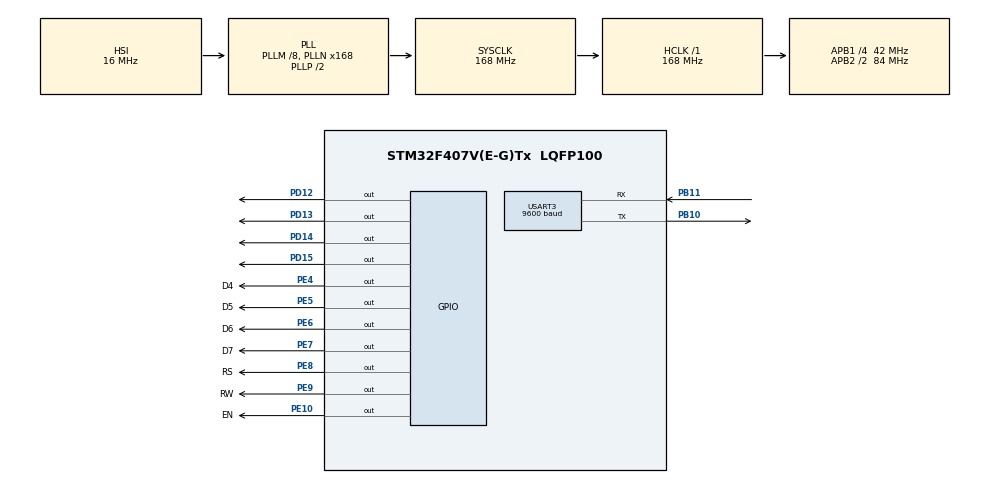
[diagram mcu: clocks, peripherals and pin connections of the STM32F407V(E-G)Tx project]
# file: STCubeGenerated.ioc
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Mcu.Family=STM32F4
Mcu.Name=STM32F407V(E-G)Tx
Mcu.Package=LQFP100
NVIC.PriorityGroup=NVIC_PRIORITYGROUP_4
NVIC.USART3_IRQn=true\:0\:0\:true\:false\:true\:true\:true\:true
PB10.Mode=Asynchronous
PB10.Signal=USART3_TX
PB11.Mode=Asynchronous
PB11.Signal=USART3_RX
PD12.Signal=GPIO_Output
PD13.Signal=GPIO_Output
PD14.Signal=GPIO_Output
PD15.Signal=GPIO_Output
PE10.GPIO_Label=EN
PE10.GPIO_ModeDefaultOutputPP=GPIO_MODE_OUTPUT_PP
PE10.GPIO_PuPd=GPIO_NOPULL
PE10.Signal=GPIO_Output
PE4.GPIO_Label=D4
PE4.GPIO_ModeDefaultOutputPP=GPIO_MODE_OUTPUT_PP
PE4.GPIO_PuPd=GPIO_NOPULL
PE4.Signal=GPIO_Output
PE5.GPIO_Label=D5
PE5.GPIO_ModeDefaultOutputPP=GPIO_MODE_OUTPUT_PP
PE5.GPIO_PuPd=GPIO_NOPULL
PE5.Signal=GPIO_Output
PE6.GPIO_Label=D6
PE6.GPIO_ModeDefaultOutputPP=GPIO_MODE_OUTPUT_PP
PE6.GPIO_PuPd=GPIO_NOPULL
PE6.Signal=GPIO_Output
PE7.GPIO_Label=D7
PE7.GPIO_ModeDefaultOutputPP=GPIO_MODE_OUTPUT_PP
PE7.GPIO_PuPd=GPIO_NOPULL
PE7.Signal=GPIO_Output
PE8.GPIO_Label=RS
PE8.GPIO_ModeDefaultOutputPP=GPIO_MODE_OUTPUT_PP
PE8.GPIO_PuPd=GPIO_NOPULL
PE8.Signal=GPIO_Output
PE9.GPIO_Label=RW
PE9.GPIO_ModeDefaultOutputPP=GPIO_MODE_OUTPUT_PP
PE9.GPIO_PuPd=GPIO_NOPULL
PE9.Signal=GPIO_Output
PH0-OSC_IN.Mode=HSE-External-Oscillator
PH0-OSC_IN.Signal=RCC_OSC_IN
PH1-OSC_OUT.Mode=HSE-External-Oscillator
PH1-OSC_OUT.Signal=RCC_OSC_OUT
ProjectManager.HeapSize=0x200
ProjectManager.StackSize=0x400
ProjectManager.TargetToolchain=MDK-ARM V5
RCC.48MHZClocksFreq_Value=84000000
RCC.AHBFreq_Value=168000000
RCC.APB1CLKDivider=RCC_HCLK_DIV4
RCC.APB1Freq_Value=42000000
RCC.APB1TimFreq_Value=84000000
RCC.APB2CLKDivider=RCC_HCLK_DIV2
RCC.APB2Freq_Value=84000000
RCC.APB2TimFreq_Value=168000000
RCC.CortexFreq_Value=168000000
RCC.HCLKFreq_Value=168000000
RCC.HSE_VALUE=8000000
RCC.HSI_VALUE=16000000
RCC.LSE_VALUE=32768
RCC.PLLM=8
RCC.PLLN=168
RCC.SYSCLKFreq_VALUE=168000000
RCC.SYSCLKSource=RCC_SYSCLKSOURCE_PLLCLK
RCC.VCOOutputFreq_Value=336000000
USART3.BaudRate=9600
USART3.VirtualMode=VM_ASYNC
board=custom

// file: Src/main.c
/* USER CODE BEGIN Header */
/**
  ******************************************************************************
  * @file           : main.c
  * @brief          : Main program body
  ******************************************************************************
  * @attention
  *
  * Copyright (c) 2023 STMicroelectronics.
  * All rights reserved.
  *
  * This software is licensed under terms that can be found in the LICENSE file
  * in the root directory of this software component.
  * If no LICENSE file comes with this software, it is provided AS-IS.
  *
  ******************************************************************************
  */
/* USER CODE END Header */
#include "main.h"

/* USER CODE BEGIN Includes */
#include "lcd.h"
#include "stdio.h"

/* USER CODE END Includes */

UART_HandleTypeDef huart3;

/* USER CODE BEGIN PV */

Lcd_HandleTypeDef lcd;

/* USER CODE END PV */

void SystemClock_Config(void);
static void MX_GPIO_Init(void);
static void MX_USART3_UART_Init(void);

/* USER CODE BEGIN 0 */

	uint8_t send[]="data !";

	uint8_t receive[6];
	uint8_t bufferSize=6;

	void HAL_UART_RxCpltCallback(UART_HandleTypeDef *huart)
	{

		HAL_UART_Receive_IT(&huart3, receive, bufferSize); // thic line must be put after receinving each data
		HAL_GPIO_TogglePin(GPIOD, GPIO_PIN_13);
	}

	void HAL_UART_TxCpltCallback(UART_HandleTypeDef *huart)
	{
		__NOP();
	}
/* USER CODE END 0 */

int main(void)
{

  /* MCU Configuration--------------------------------------------------------*/

  /* Reset of all peripherals, Initializes the Flash interface and the Systick. */
  HAL_Init();

  /* Configure the system clock */
  SystemClock_Config();

  /* Initialize all configured peripherals */
  MX_GPIO_Init();
  MX_USART3_UART_Init();
  /* USER CODE BEGIN 2 */

	// lcd_init
	HAL_GPIO_WritePin(RW_GPIO_Port, RW_Pin, 0);
	Lcd_PortType ports[] = { D4_GPIO_Port, D5_GPIO_Port, D6_GPIO_Port, D7_GPIO_Port };
	Lcd_PinType pins[] = {D4_Pin, D5_Pin, D6_Pin, D7_Pin};
	// declared as global
	// Lcd_HandleTypeDef lcd;
	lcd = Lcd_create(ports, pins, RS_GPIO_Port, RS_Pin, EN_GPIO_Port, EN_Pin, LCD_4_BIT_MODE);

	// write something and wait 3sec
	Lcd_string(&lcd, "BANU Embedded Sys.");
	Lcd_cursor(&lcd, 1,6);
	Lcd_int(&lcd, 2023);
	HAL_Delay(1000);
	Lcd_clear(&lcd);

  /* USER CODE END 2 */

  /* Infinite loop */
  /* USER CODE BEGIN WHILE */

	char str[16];

	//NVIC_EnableIRQ(USART3_IRQn);

	HAL_UART_Receive_IT(&huart3, (uint8_t *)receive, bufferSize);
	//HAL_UART_Transmit_IT(&huart3, send, 1);
	uint8_t i=65;

  while (1)
  {

		HAL_GPIO_TogglePin(GPIOD, GPIO_PIN_15);
		HAL_Delay(10);

		// Lcd_clear(&lcd);
		Lcd_cursor(&lcd, 0,0);
		snprintf(str, 16, "sent: %s", send);
		Lcd_string(&lcd, str);

		/**************************************************/

		HAL_UART_Transmit(&huart3, send, bufferSize, 10);

		HAL_Delay(1000);

		send[0]=i;
		i++;
		if(i==70) i=65;

		/**************************************************/

		Lcd_cursor(&lcd, 1,0);
		snprintf(str, 16, "rcvd: %s", receive);
		Lcd_string(&lcd, str);

		HAL_Delay (1000);

    /* USER CODE END WHILE */

  }
}

void SystemClock_Config(void)
{
  RCC_OscInitTypeDef RCC_OscInitStruct = {0};
  RCC_ClkInitTypeDef RCC_ClkInitStruct = {0};

  /** Configure the main internal regulator output voltage
  */
  __HAL_RCC_PWR_CLK_ENABLE();
  __HAL_PWR_VOLTAGESCALING_CONFIG(PWR_REGULATOR_VOLTAGE_SCALE1);

  /** Initializes the RCC Oscillators according to the specified parameters
  * in the RCC_OscInitTypeDef structure.
  */
  RCC_OscInitStruct.OscillatorType = RCC_OSCILLATORTYPE_HSI;
  RCC_OscInitStruct.HSIState = RCC_HSI_ON;
  RCC_OscInitStruct.HSICalibrationValue = RCC_HSICALIBRATION_DEFAULT;
  RCC_OscInitStruct.PLL.PLLState = RCC_PLL_ON;
  RCC_OscInitStruct.PLL.PLLSource = RCC_PLLSOURCE_HSI;
  RCC_OscInitStruct.PLL.PLLM = 8;
  RCC_OscInitStruct.PLL.PLLN = 168;
  RCC_OscInitStruct.PLL.PLLP = RCC_PLLP_DIV2;
  RCC_OscInitStruct.PLL.PLLQ = 4;
  if (HAL_RCC_OscConfig(&RCC_OscInitStruct) != HAL_OK)
  {
    Error_Handler();
  }

  /** Initializes the CPU, AHB and APB buses clocks
  */
  RCC_ClkInitStruct.ClockType = RCC_CLOCKTYPE_HCLK|RCC_CLOCKTYPE_SYSCLK
                              |RCC_CLOCKTYPE_PCLK1|RCC_CLOCKTYPE_PCLK2;
  RCC_ClkInitStruct.SYSCLKSource = RCC_SYSCLKSOURCE_PLLCLK;
  RCC_ClkInitStruct.AHBCLKDivider = RCC_SYSCLK_DIV1;
  RCC_ClkInitStruct.APB1CLKDivider = RCC_HCLK_DIV4;
  RCC_ClkInitStruct.APB2CLKDivider = RCC_HCLK_DIV2;

  if (HAL_RCC_ClockConfig(&RCC_ClkInitStruct, FLASH_LATENCY_5) != HAL_OK)
  {
    Error_Handler();
  }
}

static void MX_USART3_UART_Init(void)
{

  huart3.Instance = USART3;
  huart3.Init.BaudRate = 9600;
  huart3.Init.WordLength = UART_WORDLENGTH_8B;
  huart3.Init.StopBits = UART_STOPBITS_1;
  huart3.Init.Parity = UART_PARITY_NONE;
  huart3.Init.Mode = UART_MODE_TX_RX;
  huart3.Init.HwFlowCtl = UART_HWCONTROL_NONE;
  huart3.Init.OverSampling = UART_OVERSAMPLING_16;
  if (HAL_UART_Init(&huart3) != HAL_OK)
  {
    Error_Handler();
  }

}

static void MX_GPIO_Init(void)
{
  GPIO_InitTypeDef GPIO_InitStruct = {0};

  /* GPIO Ports Clock Enable */
  __HAL_RCC_GPIOE_CLK_ENABLE();
  __HAL_RCC_GPIOH_CLK_ENABLE();
  __HAL_RCC_GPIOB_CLK_ENABLE();
  __HAL_RCC_GPIOD_CLK_ENABLE();

  /*Configure GPIO pin Output Level */
  HAL_GPIO_WritePin(GPIOE, D4_Pin|D5_Pin|D6_Pin|D7_Pin
                          |RS_Pin|RW_Pin|EN_Pin, GPIO_PIN_RESET);

  /*Configure GPIO pin Output Level */
  HAL_GPIO_WritePin(GPIOD, GPIO_PIN_12|GPIO_PIN_13|GPIO_PIN_14|GPIO_PIN_15, GPIO_PIN_RESET);

  /*Configure GPIO pins : D4_Pin D5_Pin D6_Pin D7_Pin
                           RS_Pin RW_Pin EN_Pin */
  GPIO_InitStruct.Pin = D4_Pin|D5_Pin|D6_Pin|D7_Pin
                          |RS_Pin|RW_Pin|EN_Pin;
  GPIO_InitStruct.Mode = GPIO_MODE_OUTPUT_PP;
  GPIO_InitStruct.Pull = GPIO_NOPULL;
  GPIO_InitStruct.Speed = GPIO_SPEED_FREQ_LOW;
  HAL_GPIO_Init(GPIOE, &GPIO_InitStruct);

  /*Configure GPIO pins : PD12 PD13 PD14 PD15 */
  GPIO_InitStruct.Pin = GPIO_PIN_12|GPIO_PIN_13|GPIO_PIN_14|GPIO_PIN_15;
  GPIO_InitStruct.Mode = GPIO_MODE_OUTPUT_PP;
  GPIO_InitStruct.Pull = GPIO_NOPULL;
  GPIO_InitStruct.Speed = GPIO_SPEED_FREQ_LOW;
  HAL_GPIO_Init(GPIOD, &GPIO_InitStruct);

}

void Error_Handler(void)
{
  __disable_irq();
  while (1)
  {
  }
}
